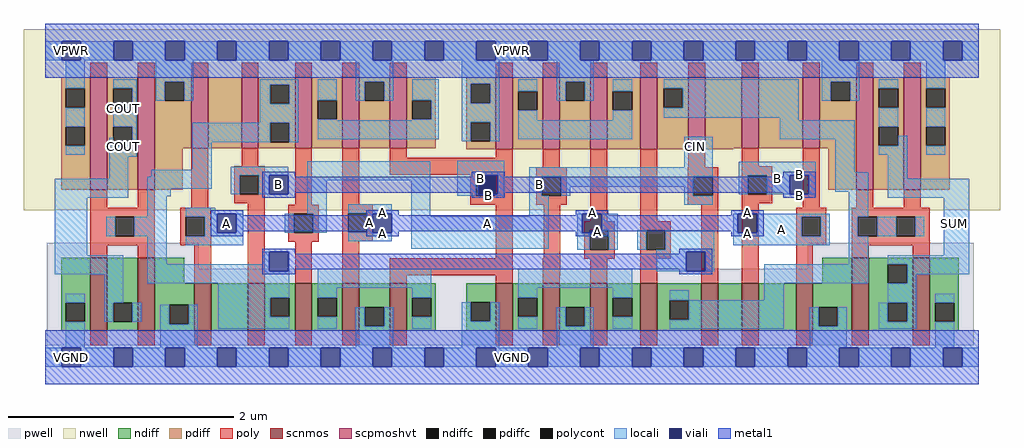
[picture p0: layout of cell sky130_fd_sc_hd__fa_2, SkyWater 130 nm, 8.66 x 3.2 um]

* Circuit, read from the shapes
.subckt sky130_fd_sc_hd__fa_2 A B CIN VGND VNB VPB VPWR COUT SUM
XM1 COUT n1 VGND VNB sky130_fd_pr__nfet_01v8 w=0.65 l=0.15 m=2
XM2 n2 A VGND VNB sky130_fd_pr__nfet_01v8 w=0.42 l=0.15
XM3 n1 B n2 VNB sky130_fd_pr__nfet_01v8 w=0.42 l=0.15
XM4 n3 CIN n1 VNB sky130_fd_pr__nfet_01v8 w=0.42 l=0.15
XM5 VGND A n3 VNB sky130_fd_pr__nfet_01v8 w=0.42 l=0.15
XM6 n3 B VGND VNB sky130_fd_pr__nfet_01v8 w=0.42 l=0.15
XM7 n4 B VGND VNB sky130_fd_pr__nfet_01v8 w=0.42 l=0.15
XM8 VGND CIN n4 VNB sky130_fd_pr__nfet_01v8 w=0.42 l=0.15
XM9 n4 A VGND VNB sky130_fd_pr__nfet_01v8 w=0.42 l=0.15
XM10 n5 n1 n4 VNB sky130_fd_pr__nfet_01v8 w=0.42 l=0.15
XM11 n6 CIN n5 VNB sky130_fd_pr__nfet_01v8 w=0.42 l=0.15
XM12 n7 B n6 VNB sky130_fd_pr__nfet_01v8 w=0.42 l=0.15
XM13 VGND A n7 VNB sky130_fd_pr__nfet_01v8 w=0.42 l=0.15
XM14 SUM n5 VGND VNB sky130_fd_pr__nfet_01v8 w=0.65 l=0.15 m=2
XM15 COUT n1 VPWR VPB sky130_fd_pr__pfet_01v8_hvt w=1 l=0.15 m=2
XM16 n8 A VPWR VPB sky130_fd_pr__pfet_01v8_hvt w=0.63 l=0.15
XM17 n1 B n8 VPB sky130_fd_pr__pfet_01v8_hvt w=0.63 l=0.15
XM18 n9 CIN n1 VPB sky130_fd_pr__pfet_01v8_hvt w=0.63 l=0.15
XM19 VPWR A n9 VPB sky130_fd_pr__pfet_01v8_hvt w=0.63 l=0.15
XM20 n9 B VPWR VPB sky130_fd_pr__pfet_01v8_hvt w=0.63 l=0.15
XM21 n10 B VPWR VPB sky130_fd_pr__pfet_01v8_hvt w=0.64 l=0.15
XM22 VPWR CIN n10 VPB sky130_fd_pr__pfet_01v8_hvt w=0.64 l=0.15
XM23 n10 A VPWR VPB sky130_fd_pr__pfet_01v8_hvt w=0.64 l=0.15
XM24 n5 n1 n10 VPB sky130_fd_pr__pfet_01v8_hvt w=0.64 l=0.15
XM25 n11 CIN n5 VPB sky130_fd_pr__pfet_01v8_hvt w=0.64 l=0.15
XM26 n12 B n11 VPB sky130_fd_pr__pfet_01v8_hvt w=0.63 l=0.15
XM27 VPWR A n12 VPB sky130_fd_pr__pfet_01v8_hvt w=0.63 l=0.15
XM28 SUM n5 VPWR VPB sky130_fd_pr__pfet_01v8_hvt w=1 l=0.15 m=2
.ends

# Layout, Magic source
magic
tech sky130B
magscale 1 2
<< nwell >>
rect -38 261 1694 582
<< pwell >>
rect 2 157 272 203
rect 1353 157 1647 203
rect 2 21 1647 157
rect 29 -17 63 21
<< scnmos >>
rect 80 47 110 177
rect 164 47 194 177
rect 264 47 294 131
rect 359 47 389 131
rect 443 47 473 131
rect 527 47 557 131
rect 611 47 641 131
rect 799 47 829 131
rect 883 47 913 131
rect 967 47 997 131
rect 1056 47 1086 131
rect 1164 47 1194 131
rect 1236 47 1266 131
rect 1332 47 1362 131
rect 1431 47 1461 177
rect 1539 47 1569 177
<< scpmoshvt >>
rect 80 297 110 497
rect 164 297 194 497
rect 259 371 289 497
rect 348 371 378 497
rect 443 371 473 497
rect 527 371 557 497
rect 611 371 641 497
rect 799 369 829 497
rect 883 369 913 497
rect 967 369 997 497
rect 1056 369 1086 497
rect 1141 369 1171 497
rect 1236 371 1266 497
rect 1344 371 1374 497
rect 1439 297 1469 497
rect 1523 297 1553 497
<< ndiff >>
rect 28 97 80 177
rect 28 63 36 97
rect 70 63 80 97
rect 28 47 80 63
rect 110 97 164 177
rect 110 63 120 97
rect 154 63 164 97
rect 110 47 164 63
rect 194 131 246 177
rect 1379 131 1431 177
rect 194 93 264 131
rect 194 59 220 93
rect 254 59 264 93
rect 194 47 264 59
rect 294 47 359 131
rect 389 106 443 131
rect 389 72 399 106
rect 433 72 443 106
rect 389 47 443 72
rect 473 106 527 131
rect 473 72 483 106
rect 517 72 527 106
rect 473 47 527 72
rect 557 89 611 131
rect 557 55 567 89
rect 601 55 611 89
rect 557 47 611 55
rect 641 106 693 131
rect 641 72 651 106
rect 685 72 693 106
rect 641 47 693 72
rect 747 98 799 131
rect 747 64 755 98
rect 789 64 799 98
rect 747 47 799 64
rect 829 106 883 131
rect 829 72 839 106
rect 873 72 883 106
rect 829 47 883 72
rect 913 89 967 131
rect 913 55 923 89
rect 957 55 967 89
rect 913 47 967 55
rect 997 106 1056 131
rect 997 72 1007 106
rect 1041 72 1056 106
rect 997 47 1056 72
rect 1086 101 1164 131
rect 1086 67 1108 101
rect 1142 67 1164 101
rect 1086 47 1164 67
rect 1194 47 1236 131
rect 1266 47 1332 131
rect 1362 89 1431 131
rect 1362 55 1372 89
rect 1406 55 1431 89
rect 1362 47 1431 55
rect 1461 165 1539 177
rect 1461 131 1495 165
rect 1529 131 1539 165
rect 1461 97 1539 131
rect 1461 63 1495 97
rect 1529 63 1539 97
rect 1461 47 1539 63
rect 1569 97 1621 177
rect 1569 63 1579 97
rect 1613 63 1621 97
rect 1569 47 1621 63
<< pdiff >>
rect 28 477 80 497
rect 28 443 36 477
rect 70 443 80 477
rect 28 409 80 443
rect 28 375 36 409
rect 70 375 80 409
rect 28 297 80 375
rect 110 477 164 497
rect 110 443 120 477
rect 154 443 164 477
rect 110 409 164 443
rect 110 375 120 409
rect 154 375 164 409
rect 110 297 164 375
rect 194 489 259 497
rect 194 455 212 489
rect 246 455 259 489
rect 194 371 259 455
rect 289 371 348 497
rect 378 484 443 497
rect 378 450 399 484
rect 433 450 443 484
rect 378 416 443 450
rect 378 382 399 416
rect 433 382 443 416
rect 378 371 443 382
rect 473 456 527 497
rect 473 422 483 456
rect 517 422 527 456
rect 473 371 527 422
rect 557 489 611 497
rect 557 455 567 489
rect 601 455 611 489
rect 557 371 611 455
rect 641 456 693 497
rect 641 422 651 456
rect 685 422 693 456
rect 641 371 693 422
rect 747 485 799 497
rect 747 451 755 485
rect 789 451 799 485
rect 747 417 799 451
rect 747 383 755 417
rect 789 383 799 417
rect 194 297 244 371
rect 747 369 799 383
rect 829 472 883 497
rect 829 438 839 472
rect 873 438 883 472
rect 829 369 883 438
rect 913 489 967 497
rect 913 455 923 489
rect 957 455 967 489
rect 913 369 967 455
rect 997 472 1056 497
rect 997 438 1007 472
rect 1041 438 1056 472
rect 997 369 1056 438
rect 1086 477 1141 497
rect 1086 443 1097 477
rect 1131 443 1141 477
rect 1086 369 1141 443
rect 1171 371 1236 497
rect 1266 371 1344 497
rect 1374 489 1439 497
rect 1374 455 1394 489
rect 1428 455 1439 489
rect 1374 371 1439 455
rect 1171 369 1221 371
rect 1389 297 1439 371
rect 1469 477 1523 497
rect 1469 443 1479 477
rect 1513 443 1523 477
rect 1469 409 1523 443
rect 1469 375 1479 409
rect 1513 375 1523 409
rect 1469 297 1523 375
rect 1553 477 1605 497
rect 1553 443 1563 477
rect 1597 443 1605 477
rect 1553 409 1605 443
rect 1553 375 1563 409
rect 1597 375 1605 409
rect 1553 297 1605 375
<< ndiffc >>
rect 36 63 70 97
rect 120 63 154 97
rect 220 59 254 93
rect 399 72 433 106
rect 483 72 517 106
rect 567 55 601 89
rect 651 72 685 106
rect 755 64 789 98
rect 839 72 873 106
rect 923 55 957 89
rect 1007 72 1041 106
rect 1108 67 1142 101
rect 1372 55 1406 89
rect 1495 131 1529 165
rect 1495 63 1529 97
rect 1579 63 1613 97
<< pdiffc >>
rect 36 443 70 477
rect 36 375 70 409
rect 120 443 154 477
rect 120 375 154 409
rect 212 455 246 489
rect 399 450 433 484
rect 399 382 433 416
rect 483 422 517 456
rect 567 455 601 489
rect 651 422 685 456
rect 755 451 789 485
rect 755 383 789 417
rect 839 438 873 472
rect 923 455 957 489
rect 1007 438 1041 472
rect 1097 443 1131 477
rect 1394 455 1428 489
rect 1479 443 1513 477
rect 1479 375 1513 409
rect 1563 443 1597 477
rect 1563 375 1597 409
<< poly >>
rect 80 497 110 523
rect 164 497 194 523
rect 259 497 289 523
rect 348 497 378 523
rect 443 497 473 523
rect 527 497 557 523
rect 611 497 641 523
rect 799 497 829 523
rect 883 497 913 523
rect 967 497 997 523
rect 1056 497 1086 523
rect 1141 497 1171 523
rect 1236 497 1266 523
rect 1344 497 1374 523
rect 1439 497 1469 523
rect 1523 497 1553 523
rect 80 265 110 297
rect 164 265 194 297
rect 259 265 289 371
rect 348 339 378 371
rect 335 323 389 339
rect 335 289 345 323
rect 379 289 389 323
rect 335 273 389 289
rect 80 249 194 265
rect 80 215 124 249
rect 158 215 194 249
rect 80 199 194 215
rect 239 249 293 265
rect 239 215 249 249
rect 283 229 293 249
rect 283 215 294 229
rect 239 199 294 215
rect 80 177 110 199
rect 164 177 194 199
rect 264 131 294 199
rect 359 131 389 273
rect 443 271 473 371
rect 527 272 557 371
rect 611 354 641 371
rect 799 354 829 369
rect 611 324 829 354
rect 883 337 913 369
rect 754 321 829 324
rect 754 287 764 321
rect 798 287 829 321
rect 431 255 485 271
rect 431 221 441 255
rect 475 221 485 255
rect 431 205 485 221
rect 527 256 581 272
rect 754 271 829 287
rect 871 321 925 337
rect 871 287 881 321
rect 915 287 925 321
rect 871 271 925 287
rect 527 222 537 256
rect 571 222 581 256
rect 527 206 581 222
rect 443 131 473 205
rect 527 131 557 206
rect 799 176 829 271
rect 884 176 914 271
rect 967 241 997 369
rect 1056 241 1086 369
rect 1141 337 1171 369
rect 1236 339 1266 371
rect 1140 321 1194 337
rect 1140 287 1150 321
rect 1184 287 1194 321
rect 1140 271 1194 287
rect 611 146 829 176
rect 611 131 641 146
rect 799 131 829 146
rect 883 146 914 176
rect 956 225 1010 241
rect 956 191 966 225
rect 1000 191 1010 225
rect 956 175 1010 191
rect 1056 225 1110 241
rect 1056 191 1066 225
rect 1100 191 1110 225
rect 1056 175 1110 191
rect 883 131 913 146
rect 967 131 997 175
rect 1056 131 1086 175
rect 1164 131 1194 271
rect 1236 323 1290 339
rect 1236 289 1246 323
rect 1280 289 1290 323
rect 1236 273 1290 289
rect 1236 131 1266 273
rect 1344 265 1374 371
rect 1439 265 1469 297
rect 1523 265 1553 297
rect 1332 249 1386 265
rect 1332 215 1342 249
rect 1376 215 1386 249
rect 1332 199 1386 215
rect 1431 249 1569 265
rect 1431 215 1442 249
rect 1476 215 1510 249
rect 1544 215 1569 249
rect 1431 199 1569 215
rect 1332 131 1362 199
rect 1431 177 1461 199
rect 1539 177 1569 199
rect 80 21 110 47
rect 164 21 194 47
rect 264 21 294 47
rect 359 21 389 47
rect 443 21 473 47
rect 527 21 557 47
rect 611 21 641 47
rect 799 21 829 47
rect 883 21 913 47
rect 967 21 997 47
rect 1056 21 1086 47
rect 1164 21 1194 47
rect 1236 21 1266 47
rect 1332 21 1362 47
rect 1431 21 1461 47
rect 1539 21 1569 47
<< polycont >>
rect 345 289 379 323
rect 124 215 158 249
rect 249 215 283 249
rect 764 287 798 321
rect 441 221 475 255
rect 881 287 915 321
rect 537 222 571 256
rect 1150 287 1184 321
rect 966 191 1000 225
rect 1066 191 1100 225
rect 1246 289 1280 323
rect 1342 215 1376 249
rect 1442 215 1476 249
rect 1510 215 1544 249
<< locali >>
rect 0 527 29 561
rect 63 527 121 561
rect 155 527 213 561
rect 247 527 305 561
rect 339 527 397 561
rect 431 527 489 561
rect 523 527 581 561
rect 615 527 673 561
rect 707 527 765 561
rect 799 527 857 561
rect 891 527 949 561
rect 983 527 1041 561
rect 1075 527 1133 561
rect 1167 527 1225 561
rect 1259 527 1317 561
rect 1351 527 1409 561
rect 1443 527 1501 561
rect 1535 527 1593 561
rect 1627 527 1656 561
rect 36 477 70 527
rect 36 409 70 443
rect 120 477 162 493
rect 154 443 162 477
rect 196 489 262 527
rect 196 455 212 489
rect 246 455 262 489
rect 380 484 449 493
rect 120 409 162 443
rect 380 450 399 484
rect 433 450 449 484
rect 380 416 449 450
rect 36 359 70 375
rect 113 375 120 390
rect 154 375 162 409
rect 113 356 162 375
rect 261 382 399 416
rect 433 382 449 416
rect 483 456 517 493
rect 551 489 617 527
rect 551 455 567 489
rect 601 455 617 489
rect 651 456 698 493
rect 483 421 517 422
rect 685 422 698 456
rect 651 421 698 422
rect 483 387 698 421
rect 739 485 805 527
rect 739 451 755 485
rect 789 451 805 485
rect 739 417 805 451
rect 739 383 755 417
rect 789 383 805 417
rect 839 472 873 493
rect 907 489 973 527
rect 907 455 923 489
rect 957 455 973 489
rect 1007 472 1041 493
rect 839 421 873 438
rect 1007 421 1041 438
rect 1097 477 1337 493
rect 1131 443 1337 477
rect 1378 489 1444 527
rect 1378 455 1394 489
rect 1428 455 1444 489
rect 1479 477 1513 493
rect 1097 425 1337 443
rect 839 387 1041 421
rect 1303 421 1337 425
rect 113 317 147 356
rect 261 333 295 382
rect 188 320 295 333
rect 17 283 147 317
rect 181 299 295 320
rect 329 323 431 338
rect 181 286 222 299
rect 329 289 345 323
rect 379 289 397 323
rect 465 314 683 348
rect 17 181 74 283
rect 181 249 215 286
rect 108 215 124 249
rect 158 215 215 249
rect 17 147 138 181
rect 36 97 70 113
rect 104 97 138 147
rect 181 165 215 215
rect 249 255 301 265
rect 465 255 499 314
rect 249 249 305 255
rect 283 221 305 249
rect 339 221 351 255
rect 425 221 441 255
rect 475 221 499 255
rect 537 256 615 272
rect 571 255 615 256
rect 571 222 581 255
rect 537 221 581 222
rect 283 215 351 221
rect 249 199 351 215
rect 537 206 615 221
rect 649 250 683 314
rect 731 323 814 349
rect 1134 337 1184 391
rect 1303 387 1436 421
rect 731 321 769 323
rect 731 287 764 321
rect 803 289 814 323
rect 798 287 814 289
rect 859 321 1184 337
rect 859 287 881 321
rect 915 303 1150 321
rect 915 287 931 303
rect 1134 287 1150 303
rect 1230 323 1367 347
rect 1230 289 1246 323
rect 1280 289 1321 323
rect 1355 289 1367 323
rect 1402 328 1436 387
rect 1479 409 1513 443
rect 1563 477 1597 527
rect 1563 409 1597 443
rect 1513 375 1529 393
rect 1479 359 1529 375
rect 1563 359 1597 375
rect 1402 294 1460 328
rect 859 250 893 287
rect 1134 271 1184 287
rect 649 193 893 250
rect 944 221 953 255
rect 987 225 1016 255
rect 944 191 966 221
rect 1000 191 1016 225
rect 1050 191 1066 225
rect 1100 191 1187 225
rect 1221 221 1229 255
rect 1263 249 1392 255
rect 1263 221 1342 249
rect 1221 215 1342 221
rect 1376 215 1392 249
rect 1221 199 1392 215
rect 1426 249 1460 294
rect 1495 317 1529 359
rect 1495 283 1639 317
rect 1426 215 1442 249
rect 1476 215 1510 249
rect 1544 215 1560 249
rect 1084 187 1187 191
rect 385 165 397 187
rect 181 153 397 165
rect 431 153 433 187
rect 181 131 433 153
rect 307 106 433 131
rect 104 63 120 97
rect 154 63 170 97
rect 36 17 70 63
rect 204 59 220 93
rect 254 59 270 93
rect 204 17 270 59
rect 307 72 399 106
rect 307 51 433 72
rect 483 123 685 157
rect 483 106 517 123
rect 651 106 685 123
rect 483 51 517 72
rect 551 55 567 89
rect 601 55 617 89
rect 551 17 617 55
rect 839 123 1041 157
rect 1084 153 1137 187
rect 1171 153 1187 187
rect 1426 165 1460 215
rect 1594 181 1639 283
rect 839 106 873 123
rect 651 51 685 72
rect 739 64 755 98
rect 789 64 805 98
rect 739 17 805 64
rect 1007 106 1041 123
rect 1276 131 1460 165
rect 1495 165 1639 181
rect 1529 147 1639 165
rect 1529 131 1545 147
rect 839 51 873 72
rect 907 55 923 89
rect 957 55 973 89
rect 907 17 973 55
rect 1007 51 1041 72
rect 1108 101 1142 119
rect 1276 101 1310 131
rect 1142 67 1310 101
rect 1495 97 1545 131
rect 1108 51 1310 67
rect 1356 55 1372 89
rect 1406 55 1422 89
rect 1356 17 1422 55
rect 1479 63 1495 97
rect 1529 63 1545 97
rect 1479 51 1545 63
rect 1579 97 1613 113
rect 1579 17 1613 63
rect 0 -17 29 17
rect 63 -17 121 17
rect 155 -17 213 17
rect 247 -17 305 17
rect 339 -17 397 17
rect 431 -17 489 17
rect 523 -17 581 17
rect 615 -17 673 17
rect 707 -17 765 17
rect 799 -17 857 17
rect 891 -17 949 17
rect 983 -17 1041 17
rect 1075 -17 1133 17
rect 1167 -17 1225 17
rect 1259 -17 1317 17
rect 1351 -17 1409 17
rect 1443 -17 1501 17
rect 1535 -17 1593 17
rect 1627 -17 1656 17
<< viali >>
rect 29 527 63 561
rect 121 527 155 561
rect 213 527 247 561
rect 305 527 339 561
rect 397 527 431 561
rect 489 527 523 561
rect 581 527 615 561
rect 673 527 707 561
rect 765 527 799 561
rect 857 527 891 561
rect 949 527 983 561
rect 1041 527 1075 561
rect 1133 527 1167 561
rect 1225 527 1259 561
rect 1317 527 1351 561
rect 1409 527 1443 561
rect 1501 527 1535 561
rect 1593 527 1627 561
rect 397 289 431 323
rect 305 221 339 255
rect 581 221 615 255
rect 769 321 803 323
rect 769 289 798 321
rect 798 289 803 321
rect 1321 289 1355 323
rect 953 225 987 255
rect 953 221 966 225
rect 966 221 987 225
rect 1229 221 1263 255
rect 397 153 431 187
rect 1137 153 1171 187
rect 29 -17 63 17
rect 121 -17 155 17
rect 213 -17 247 17
rect 305 -17 339 17
rect 397 -17 431 17
rect 489 -17 523 17
rect 581 -17 615 17
rect 673 -17 707 17
rect 765 -17 799 17
rect 857 -17 891 17
rect 949 -17 983 17
rect 1041 -17 1075 17
rect 1133 -17 1167 17
rect 1225 -17 1259 17
rect 1317 -17 1351 17
rect 1409 -17 1443 17
rect 1501 -17 1535 17
rect 1593 -17 1627 17
<< metal1 >>
rect 0 561 1656 592
rect 0 527 29 561
rect 63 527 121 561
rect 155 527 213 561
rect 247 527 305 561
rect 339 527 397 561
rect 431 527 489 561
rect 523 527 581 561
rect 615 527 673 561
rect 707 527 765 561
rect 799 527 857 561
rect 891 527 949 561
rect 983 527 1041 561
rect 1075 527 1133 561
rect 1167 527 1225 561
rect 1259 527 1317 561
rect 1351 527 1409 561
rect 1443 527 1501 561
rect 1535 527 1593 561
rect 1627 527 1656 561
rect 0 496 1656 527
rect 385 323 443 329
rect 385 289 397 323
rect 431 320 443 323
rect 757 323 815 329
rect 757 320 769 323
rect 431 292 769 320
rect 431 289 443 292
rect 385 283 443 289
rect 757 289 769 292
rect 803 320 815 323
rect 1309 323 1367 329
rect 1309 320 1321 323
rect 803 292 1321 320
rect 803 289 815 292
rect 757 283 815 289
rect 1309 289 1321 292
rect 1355 289 1367 323
rect 1309 283 1367 289
rect 293 255 351 261
rect 293 221 305 255
rect 339 252 351 255
rect 569 255 627 261
rect 569 252 581 255
rect 339 224 581 252
rect 339 221 351 224
rect 293 215 351 221
rect 569 221 581 224
rect 615 252 627 255
rect 941 255 999 261
rect 941 252 953 255
rect 615 224 953 252
rect 615 221 627 224
rect 569 215 627 221
rect 941 221 953 224
rect 987 252 999 255
rect 1217 255 1275 261
rect 1217 252 1229 255
rect 987 224 1229 252
rect 987 221 999 224
rect 941 215 999 221
rect 1217 221 1229 224
rect 1263 221 1275 255
rect 1217 215 1275 221
rect 385 187 443 193
rect 385 153 397 187
rect 431 184 443 187
rect 1125 187 1183 193
rect 1125 184 1137 187
rect 431 156 1137 184
rect 431 153 443 156
rect 385 147 443 153
rect 1125 153 1137 156
rect 1171 153 1183 187
rect 1125 147 1183 153
rect 0 17 1656 48
rect 0 -17 29 17
rect 63 -17 121 17
rect 155 -17 213 17
rect 247 -17 305 17
rect 339 -17 397 17
rect 431 -17 489 17
rect 523 -17 581 17
rect 615 -17 673 17
rect 707 -17 765 17
rect 799 -17 857 17
rect 891 -17 949 17
rect 983 -17 1041 17
rect 1075 -17 1133 17
rect 1167 -17 1225 17
rect 1259 -17 1317 17
rect 1351 -17 1409 17
rect 1443 -17 1501 17
rect 1535 -17 1593 17
rect 1627 -17 1656 17
rect 0 -48 1656 -17
<< labels >>
flabel locali s 121 425 155 459 0 FreeSans 200 0 0 0 COUT
port 8 nsew signal output
flabel locali s 121 357 155 391 0 FreeSans 200 0 0 0 COUT
port 8 nsew signal output
flabel locali s 1597 221 1631 255 0 FreeSans 200 0 0 0 SUM
port 9 nsew signal output
flabel locali s 305 221 339 255 0 FreeSans 200 0 0 0 A
port 1 nsew signal input
flabel locali s 397 289 431 323 0 FreeSans 200 0 0 0 B
port 2 nsew signal input
flabel locali s 1137 357 1171 391 0 FreeSans 200 0 0 0 CIN
port 3 nsew signal input
flabel locali s 29 -17 63 17 0 FreeSans 200 0 0 0 VGND
port 4 nsew ground bidirectional abutment
flabel locali s 29 527 63 561 0 FreeSans 200 0 0 0 VPWR
port 7 nsew power bidirectional abutment
flabel nwell s 29 527 63 561 0 FreeSans 200 0 0 0 VPB
port 6 nsew power bidirectional
flabel pwell s 29 -17 63 17 0 FreeSans 200 0 0 0 VNB
port 5 nsew ground bidirectional
flabel metal1 s 29 -17 63 17 0 FreeSans 200 0 0 0 VGND
port 4 nsew ground bidirectional abutment
flabel metal1 s 29 527 63 561 0 FreeSans 200 0 0 0 VPWR
port 7 nsew power bidirectional abutment
rlabel comment s 0 0 0 0 4 fa_2
rlabel locali s 537 206 615 272 1 A
port 1 nsew signal input
rlabel locali s 944 191 1016 255 1 A
port 1 nsew signal input
rlabel locali s 1221 199 1392 255 1 A
port 1 nsew signal input
rlabel metal1 s 1217 252 1275 261 1 A
port 1 nsew signal input
rlabel metal1 s 1217 215 1275 224 1 A
port 1 nsew signal input
rlabel metal1 s 941 252 999 261 1 A
port 1 nsew signal input
rlabel metal1 s 941 215 999 224 1 A
port 1 nsew signal input
rlabel metal1 s 569 252 627 261 1 A
port 1 nsew signal input
rlabel metal1 s 569 215 627 224 1 A
port 1 nsew signal input
rlabel metal1 s 293 252 351 261 1 A
port 1 nsew signal input
rlabel metal1 s 293 224 1275 252 1 A
port 1 nsew signal input
rlabel metal1 s 293 215 351 224 1 A
port 1 nsew signal input
rlabel locali s 731 287 814 349 1 B
port 2 nsew signal input
rlabel locali s 1230 289 1367 347 1 B
port 2 nsew signal input
rlabel metal1 s 1309 320 1367 329 1 B
port 2 nsew signal input
rlabel metal1 s 1309 283 1367 292 1 B
port 2 nsew signal input
rlabel metal1 s 757 320 815 329 1 B
port 2 nsew signal input
rlabel metal1 s 757 283 815 292 1 B
port 2 nsew signal input
rlabel metal1 s 385 320 443 329 1 B
port 2 nsew signal input
rlabel metal1 s 385 292 1367 320 1 B
port 2 nsew signal input
rlabel metal1 s 385 283 443 292 1 B
port 2 nsew signal input
rlabel metal1 s 0 -48 1656 48 1 VGND
port 4 nsew ground bidirectional abutment
rlabel metal1 s 0 496 1656 592 1 VPWR
port 7 nsew power bidirectional abutment
<< properties >>
string FIXED_BBOX 0 0 1656 544
string GDS_END 2078234
string GDS_FILE $PDKPATH/libs.ref/sky130_fd_sc_hd/gds/sky130_fd_sc_hd.gds
string GDS_START 2064636
string LEFclass CORE
string LEFsite unithd
string LEFsymmetry X Y R90
string path 11.000 9.975 6.950 9.975 6.950 7.475 
<< end >>
